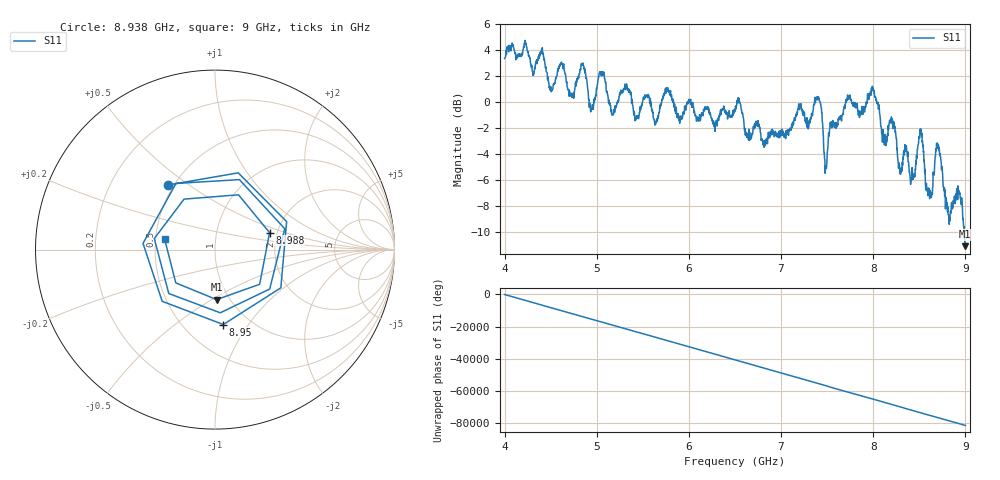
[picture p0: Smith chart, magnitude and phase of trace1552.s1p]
! Created with skrf 1.8.0 (http://scikit-rf.org).
# Hz S RI R 50.0
!freq ReS11 ImS11
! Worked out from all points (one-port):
!   1601 points, 4 GHz to 9 GHz, reference 50 ohm
!   lowest |S11| = -11.1 dB at 8.994 GHz (marker M1), VSWR 1.77, Z = 43.5 - j26.3 ohm
!   |S11| at or under -10 dB: 8.989887 GHz to end of sweep
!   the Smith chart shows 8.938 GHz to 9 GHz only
!   S11 on the Smith chart (normalised r, x): 8.938 GHz: 0.47, +0.42; 8.95 GHz: 0.76, -0.77; 8.988 GHz: 1.82, +0.38; 9 GHz: 0.56, +0.07
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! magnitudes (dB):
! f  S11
! 4 GHz  3.4
! 4.625 GHz  3.0
! 4.731 GHz  0.3
! 4.853 GHz  2.9
! 4.941 GHz  -0.6
! 5.05 GHz  2.0
! 5.172 GHz  -1.0
! 5.25 GHz  0.7
! 5.875 GHz  -1.0
! 6.5 GHz  -0.6
! 6.809 GHz  -3.0
! 7.125 GHz  -1.5
! 7.403 GHz  0.3
! 7.488 GHz  -5.1
! 7.75 GHz  0.3
! 8.003 GHz  0.9
! 8.112 GHz  -2.8
! 8.375 GHz  -3.8
! 8.428 GHz  -5.7
! 8.516 GHz  -2.4
! 8.616 GHz  -6.8
! 8.703 GHz  -3.3
! 8.809 GHz  -8.1
! 8.938 GHz  -7.0
! 8.95 GHz  -7.5
! 8.988 GHz  -9.9
! 8.994 GHz  -11.1
! 9 GHz  -10.8
